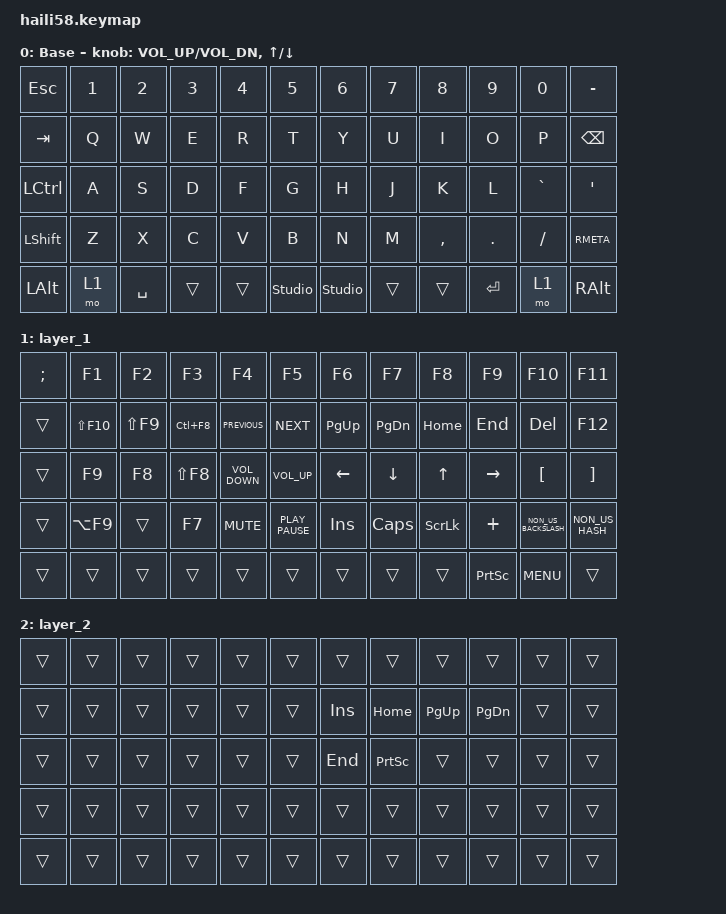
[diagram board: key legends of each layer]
#include <behaviors.dtsi>
#include <dt-bindings/zmk/keys.h>
#include "keys_pt.h"

/ {
    keymap {
        compatible = "zmk,keymap";

        default_layer {
            display-name = "Base";
            bindings = <
&kp ESC           &kp NUMBER_1  &kp NUMBER_2  &kp NUMBER_3  &kp NUMBER_4  &kp NUMBER_5        &kp NUMBER_6    &kp NUMBER_7  &kp NUMBER_8  &kp NUMBER_9  &kp NUMBER_0  &kp MINUS
&kp TAB           &kp Q         &kp W         &kp E         &kp R         &kp T               &kp Y           &kp U         &kp I         &kp O         &kp P         &kp BACKSPACE
&kp LEFT_CONTROL  &kp A         &kp S         &kp D         &kp F         &kp G               &kp H           &kp J         &kp K         &kp L         &kp GRAVE     &kp SINGLE_QUOTE
&kp LEFT_SHIFT    &kp Z         &kp X         &kp C         &kp V         &kp B               &kp N           &kp M         &kp COMMA     &kp DOT       &kp SLASH     &kp RMETA
&kp LEFT_ALT      &mo 1         &kp SPACE     &trans        &trans        &studio_unlock      &studio_unlock  &trans        &trans        &kp ENTER     &mo 1         &kp RIGHT_ALT
            >;

            sensor-bindings = <&inc_dec_kp C_VOL_UP C_VOL_DN &inc_dec_kp UP DOWN>;
        };

        layer_1 {
            bindings = <
&kp SEMICOLON  &kp F1       &kp F2      &kp F3      &kp F4             &kp F5                &kp F6       &kp F7         &kp F8          &kp F9           &kp F10               &kp F11
&trans         &kp LS(F10)  &kp LS(F9)  &kp LC(F8)  &kp K_PREVIOUS     &kp K_NEXT            &kp PAGE_UP  &kp PAGE_DOWN  &kp HOME        &kp END          &kp DEL               &kp F12
&trans         &kp F9       &kp F8      &kp LS(F8)  &kp K_VOLUME_DOWN  &kp K_VOLUME_UP       &kp LEFT     &kp DOWN       &kp UP_ARROW    &kp RIGHT        &kp LEFT_BRACKET      &kp RIGHT_BRACKET
&trans         &kp LA(F9)   &trans      &kp F7      &kp K_MUTE         &kp K_PLAY_PAUSE      &kp INSERT   &kp CAPSLOCK   &kp SCROLLLOCK  &kp PLUS         &kp NON_US_BACKSLASH  &kp NON_US_HASH
&trans         &trans       &trans      &trans      &trans             &trans                &trans       &trans         &trans          &kp PRINTSCREEN  &kp K_MENU            &trans
            >;
        };

        layer_2 {
            bindings = <
&trans  &trans  &trans  &trans  &trans  &trans      &trans   &trans           &trans       &trans         &trans  &trans
&trans  &trans  &trans  &trans  &trans  &trans      &kp INS  &kp HOME         &kp PAGE_UP  &kp PAGE_DOWN  &trans  &trans
&trans  &trans  &trans  &trans  &trans  &trans      &kp END  &kp PRINTSCREEN  &trans       &trans         &trans  &trans
&trans  &trans  &trans  &trans  &trans  &trans      &trans   &trans           &trans       &trans         &trans  &trans
&trans  &trans  &trans  &trans  &trans  &trans      &trans   &trans           &trans       &trans         &trans  &trans
            >;
        };
    };
};
